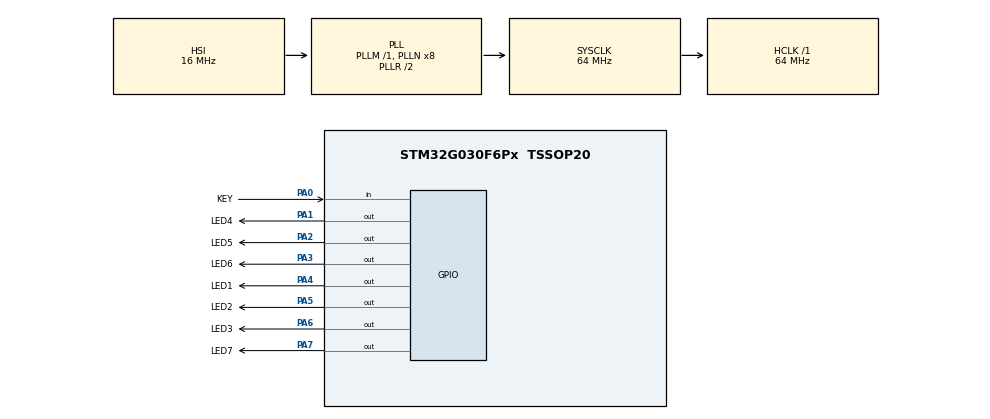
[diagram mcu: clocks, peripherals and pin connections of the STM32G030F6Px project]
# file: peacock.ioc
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IWDG.Prescaler=IWDG_PRESCALER_64
IWDG.Reload=1999
IWDG.Window=4095
Mcu.Family=STM32G0
Mcu.Name=STM32G030F6Px
Mcu.Package=TSSOP20
NVIC.TIM14_IRQn=true\:0\:0\:false\:false\:true\:true\:true\:true
PA0.GPIO_Label=KEY
PA0.GPIO_PuPd=GPIO_PULLUP
PA0.Signal=GPIO_Input
PA1.GPIO_Label=LED4
PA1.GPIO_PuPd=GPIO_PULLDOWN
PA1.PinState=GPIO_PIN_RESET
PA1.Signal=GPIO_Output
PA13.Mode=Serial_Wire
PA13.Signal=SYS_SWDIO
PA14-BOOT0.Mode=Serial_Wire
PA14-BOOT0.Signal=SYS_SWCLK
PA14-BOOT0__PA15.StandardMode=true
PA2.GPIO_Label=LED5
PA2.GPIO_PuPd=GPIO_PULLDOWN
PA2.Signal=GPIO_Output
PA3.GPIO_Label=LED6
PA3.GPIO_PuPd=GPIO_PULLDOWN
PA3.Signal=GPIO_Output
PA4.GPIO_Label=LED1
PA4.GPIO_PuPd=GPIO_PULLDOWN
PA4.Signal=GPIO_Output
PA5.GPIO_Label=LED2
PA5.GPIO_PuPd=GPIO_PULLDOWN
PA5.Signal=GPIO_Output
PA6.GPIO_Label=LED3
PA6.GPIO_PuPd=GPIO_PULLDOWN
PA6.Signal=GPIO_Output
PA7.GPIO_Label=LED7
PA7.GPIO_PuPd=GPIO_PULLDOWN
PA7.Signal=GPIO_Output
PB0__PB1__PB2__PA8.StandardMode=true
PB3__PB4__PB5__PB6.StandardMode=true
PB7__PB8.StandardMode=true
PC14-OSC32_IN\ (PC14)__PB9.StandardMode=true
ProjectManager.HeapSize=0x200
ProjectManager.StackSize=0x400
ProjectManager.TargetToolchain=CMake
RCC.ADCFreq_Value=64000000
RCC.AHBFreq_Value=64000000
RCC.CortexFreq_Value=64000000
RCC.EXTERNAL_CLOCK_VALUE=12288000
RCC.HCLKFreq_Value=64000000
RCC.HSE_VALUE=8000000
RCC.HSI_VALUE=16000000
RCC.LSE_VALUE=32768
RCC.SYSCLKFreq_VALUE=64000000
RCC.SYSCLKSource=RCC_SYSCLKSOURCE_PLLCLK
RCC.VCOOutputFreq_Value=128000000
TIM14.Period=25
TIM14.Prescaler=63
VP_IWDG_VS_IWDG.Mode=IWDG_Activate
VP_TIM14_VS_ClockSourceINT.Mode=Enable_Timer
board=custom

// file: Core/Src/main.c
/* USER CODE BEGIN Header */
/**
  ******************************************************************************
  * @file           : main.c
  * @brief          : Main program body
  * @details        : 本程序基于 STM32G030F6Px，使用 TIM14 约 38.4kHz 中断
  *                 : 实现 7 路 LED 软件 PWM（BSRR 一次写），提供 8 种灯效
  *                 :（流水/呼吸/爆闪/全亮），带伽马校正与占空比双缓冲。
  *                 : 10ms 低频任务完成按键去抖、短按切模式、长按进出设置，
  *                 : 并支持按模式调整速度/爆闪周期/全亮亮度等参数档位显示。
  ******************************************************************************
  * @attention
  *
  * Copyright (c) 2025 STMicroelectronics.
  * All rights reserved.
  *
  * This software is licensed under terms that can be found in the LICENSE file
  * in the root directory of this software component.
  * If no LICENSE file comes with this software, it is provided AS-IS.
  *
  ******************************************************************************
  */
/* USER CODE END Header */
#include "main.h"

/* USER CODE BEGIN Includes */
/* 数学函数用于初始化伽马查找表，仅在启动时执行 */
#include <math.h>
/* memcpy 用于双缓冲拷贝 */
#include <string.h>
#include "flash_cfg.h"
/* USER CODE END Includes */

/* USER CODE BEGIN PD */

/* 灯数量与软件 PWM 参数 */
#define LED_COUNT 7U
#define PWM_BITS 6U
#define PWM_STEPS (1U << PWM_BITS)
#define PWM_MAX (PWM_STEPS - 1U)
#define DITHER_BITS (8U - PWM_BITS)
#define DITHER_CYCLE (1U << DITHER_BITS)
#define BAM_FRAME_UNITS ((1U << PWM_BITS) - 1U)
/* 64MHz / (20kHz * 63) ≈ 50.8 -> 51 ticks per BAM base unit. */
#define BAM_BASE_TICKS 51U
#if (PWM_STEPS != (1U << PWM_BITS))
#error "PWM_STEPS must be a power-of-two defined by PWM_BITS."
#endif
/* 低频效果节拍 */
#define EFFECT_TICK_MS 10U
/* 流水步进周期 */
#define STEP_MS 120U
/* 呼吸包络每 tick 变化量 */
#define ENV_DELTA 4U
/* 呼吸曲线参数 */
#define BREATH_STEPS 256U
#define BREATH_CYCLE (BREATH_STEPS * 2U)
/* 爆闪翻转周期 */
#define FLASH_TOGGLE_MS 100U
/* 按键消抖计数 */
#define KEY_DEBOUNCE_TICKS 3U
/* 长按阈值 */
#define LONGPRESS_MS 2000U
/* 配置保存延迟，避免频繁写入 */
#define SAVE_DELAY_MS 500U

/* LED 相关位掩码，仅影响 LED 引脚 */
#define LED_MASK (LED1_Pin | LED2_Pin | LED3_Pin | LED4_Pin | LED5_Pin | LED6_Pin | LED7_Pin)

/* USER CODE END PD */

TIM_HandleTypeDef htim14;

/* USER CODE BEGIN PV */

/* PWM 相位与双缓冲占空比 */
static volatile uint8_t bam_bit = 0;
static volatile uint8_t dither_phase = 0;
static volatile uint8_t duty_next[LED_COUNT];
static uint32_t bam_on_buf_a[DITHER_CYCLE][PWM_BITS];
static uint32_t bam_on_buf_b[DITHER_CYCLE][PWM_BITS];
static uint32_t (*bam_on_cur)[PWM_BITS] = bam_on_buf_a;
static uint32_t (*bam_on_next)[PWM_BITS] = bam_on_buf_b;
static volatile uint8_t bam_table_ready = 0;
static uint16_t bam_arr_table[PWM_BITS];

/* 伽马校正查找表 */
static uint8_t gamma_lut[256];

/* 效果状态机变量 */
static uint8_t mode = 1;
static uint8_t pos = 0;
static uint8_t group = 0;
static uint16_t step_accum_ms = 0;
static uint16_t flash_accum_ms = 0;
static uint8_t flash_on = 0;
static uint8_t env = 0;
static uint16_t breath_phase = 0;
static uint32_t breath_phase_accum = 0;
static uint8_t breath_lut_cur = 0;
static uint8_t save_pending = 0;
static uint16_t save_delay_ms = 0;

/* 按键消抖状态 */
static uint8_t key_stable = 1;
static uint8_t key_cnt = 0;
static uint16_t key_press_ms = 0;
static uint8_t key_long_fired = 0;
static uint8_t key_last_stable = 1;

typedef enum
{
  RUN_STATE_RUN = 0,
  RUN_STATE_SETUP = 1
} RunState_t;

static RunState_t run_state = RUN_STATE_RUN;

/* 参数档位（index by mode 1..8） */
static uint8_t param_level[10] = {0, 4, 4, 4, 4, 4, 4, 4, 4, 4};

static const uint16_t step_ms_table[7] = {240, 200, 160, 130, 110, 90, 70};
static const uint16_t flash_ms_table[7] = {300, 240, 200, 160, 130, 110, 90};
static const uint8_t bright_cmd_table[7] = {100, 120, 140, 170, 200, 230, 255};
static const uint16_t breath_delta_q8_table[7] = {218, 246, 281, 328, 393, 492, 655};

/* USER CODE END PV */

void SystemClock_Config(void);
static void MX_GPIO_Init(void);
static void MX_TIM14_Init(void);
/* USER CODE BEGIN PFP */

/* 初始化伽马查找表 */
static void Gamma_Init(void);
/* 低频效果更新（按键/模式/包络） */
static void Effect_Tick(void);
/* 将线性亮度命令映射并写入下一帧占空比 */
static void Apply_CmdToDutyNext(const uint8_t cmd[LED_COUNT]);
static void Apply_Config(const Config *cfg);
static void Save_Config_Now(void);

/* USER CODE END PFP */

/* USER CODE BEGIN 0 */

/* LED 顺序：LED1..LED7 映射到 PA4,5,6,1,2,3,7（用于 GPIOA BSRR 原子更新）*/
static const uint16_t led_bits[LED_COUNT] = {
  LED4_Pin, LED5_Pin, LED6_Pin, LED1_Pin, LED2_Pin, LED3_Pin, LED7_Pin
};

/* Setup level (1..7) -> LED index mapping, aligned with led_bits order. */
static const uint8_t setup_level_to_index[LED_COUNT] = {0, 1, 2, 3, 4, 5, 6};

static uint8_t Breath_FromPhase(uint16_t phase)
{
  uint16_t tri = (phase < BREATH_STEPS) ? phase : (uint16_t)(BREATH_CYCLE - 1U - phase);

  return gamma_lut[tri];
}

static uint8_t Breath_Triangle(uint16_t phase)
{
  /* Linear triangle wave (0..255) with gamma correction. */
  uint16_t tri = (phase < BREATH_STEPS) ? phase : (uint16_t)(BREATH_CYCLE - 1U - phase);

  return gamma_lut[tri];
}

static void Gamma_Init(void)
{
  /* 用户代码函数：初始化伽马校正查找表（仅启动执行一次） */
  /* 启动时一次性生成伽马表，避免 ISR 内浮点运算 */
  const float gamma = 2.2f;
  for (uint16_t i = 0; i < 256; i++)
  {
    float x = (float)i / 255.0f;
    float y = powf(x, gamma);
    uint32_t duty = (uint32_t)(y * 255.0f + 0.5f);
    if (duty > 255U)
    {
      duty = 255U;
    }
    gamma_lut[i] = (uint8_t)duty;
  }
}

static void Apply_CmdToDutyNext(const uint8_t cmd[LED_COUNT])
{
  /* Map cmd->gamma and precompute the dithered phase table. */
  __disable_irq();
  if (bam_table_ready != 0U)
  {
    __enable_irq();
    return;
  }
  __enable_irq();

  for (uint8_t i = 0; i < LED_COUNT; i++)
  {
    duty_next[i] = gamma_lut[cmd[i]];
  }

  for (uint8_t d = 0; d < DITHER_CYCLE; d++)
  {
    for (uint8_t b = 0; b < PWM_BITS; b++)
    {
      bam_on_next[d][b] = 0U;
    }
  }

  for (uint8_t i = 0; i < LED_COUNT; i++)
  {
    /* 4-frame temporal dither to approximate 8-bit gamma with 6-bit BAM. */
    uint32_t scaled = ((uint32_t)duty_next[i] * (PWM_MAX * DITHER_CYCLE) + 127U) / 255U;
    uint8_t base = (uint8_t)(scaled >> DITHER_BITS);
    uint8_t frac = (uint8_t)(scaled & (DITHER_CYCLE - 1U));
    for (uint8_t d = 0; d < DITHER_CYCLE; d++)
    {
      uint8_t value = base;
      if ((base < PWM_MAX) && (d < frac))
      {
        value = (uint8_t)(base + 1U);
      }
      if (value > PWM_MAX)
      {
        value = PWM_MAX;
      }
      for (uint8_t b = 0; b < PWM_BITS; b++)
      {
        if ((value >> b) & 0x1U)
        {
          bam_on_next[d][b] |= led_bits[i];
        }
      }
    }
  }

  __disable_irq();
  bam_table_ready = 1U;
  __enable_irq();
}

static void Apply_Config(const Config *cfg)
{
  mode = cfg->mode;
  if ((mode < 1U) || (mode > 9U))
  {
    mode = 1U;
  }
  param_level[0] = 0U;
  for (uint8_t i = 1U; i <= 9U; i++)
  {
    uint8_t level = cfg->param_level[i];
    if ((level < 1U) || (level > 7U))
    {
      level = 4U;
    }
    param_level[i] = level;
  }
}

static void Save_Config_Now(void)
{
  Config cfg;
  memset(&cfg, 0, sizeof(cfg));
  cfg.mode = mode;
  cfg.run_state = RUN_STATE_RUN;
  cfg.param_level[0] = 0U;
  for (uint8_t i = 1U; i <= 9U; i++)
  {
    uint8_t level = param_level[i];
    if ((level < 1U) || (level > 7U))
    {
      level = 4U;
    }
    cfg.param_level[i] = level;
  }

  HAL_TIM_Base_Stop_IT(&htim14);
  __disable_irq();
  (void)FlashCfg_Append(&cfg);
  __enable_irq();
  HAL_TIM_Base_Start_IT(&htim14);
}

static void Effect_Tick(void)
{
  /* 用户代码函数：10ms 低频任务，按键事件/状态机/参数/图案更新 */
  /* 10 ms 低频节拍：按键消抖、模式切换、包络与图案更新 */
  uint8_t key_raw = (HAL_GPIO_ReadPin(KEY_GPIO_Port, KEY_Pin) == GPIO_PIN_RESET) ? 0U : 1U;
  if (key_raw != key_stable)
  {
    if (++key_cnt >= KEY_DEBOUNCE_TICKS)
    {
      key_cnt = 0;
      key_stable = key_raw;
    }
  }
  else
  {
    key_cnt = 0;
  }

  /* 生成短按/长按事件（仅在稳定状态下计时） */
  uint8_t short_press = 0;
  uint8_t long_press = 0;
  if (key_stable == 0U)
  {
    key_press_ms += EFFECT_TICK_MS;
    if ((key_press_ms >= LONGPRESS_MS) && (key_long_fired == 0U))
    {
      key_long_fired = 1U;
      long_press = 1U;
    }
  }
  else
  {
    if ((key_last_stable == 0U) && (key_long_fired == 0U) && (key_press_ms > 0U))
    {
      short_press = 1U;
    }
    key_press_ms = 0;
    key_long_fired = 0U;
  }
  key_last_stable = key_stable;

  /* RUN/SETUP 状态机 */
  if (run_state == RUN_STATE_RUN)
  {
    if (long_press)
    {
      run_state = RUN_STATE_SETUP;
      save_pending = 0U;
      save_delay_ms = 0U;
    }
    else if (short_press)
    {
      mode++;
      if (mode > 9U)
      {
        mode = 1U;
      }
      save_pending = 1U;
      save_delay_ms = 0U;
    }
  }
  else
  {
    if (long_press)
    {
      run_state = RUN_STATE_RUN;
      save_pending = 0U;
      save_delay_ms = 0U;
      Save_Config_Now();
    }
    else if (short_press)
    {
      uint8_t level = param_level[mode];
      level++;
      if (level > 7U)
      {
        level = 1U;
      }
      param_level[mode] = level;
    }
  }

  /* 根据当前模式参数更新节拍 */
  uint8_t level_idx = (param_level[mode] > 0U) ? (uint8_t)(param_level[mode] - 1U) : 0U;
  uint16_t step_ms = STEP_MS;
  uint16_t flash_ms = FLASH_TOGGLE_MS;
  if (mode >= 1U && mode <= 6U)
  {
    step_ms = step_ms_table[level_idx];
  }
  else if (mode == 7U)
  {
    flash_ms = flash_ms_table[level_idx];
  }
  if (mode == 9U)
  {
    uint32_t delta_q8 = breath_delta_q8_table[level_idx];
    breath_phase_accum += delta_q8;
    if (breath_phase_accum >= (uint32_t)BREATH_CYCLE << 8)
    {
      breath_phase_accum -= (uint32_t)BREATH_CYCLE << 8;
    }
    breath_phase = (uint16_t)(breath_phase_accum >> 8);
  }
  else
  {
    breath_phase = (uint16_t)(breath_phase + ENV_DELTA);
    if (breath_phase >= BREATH_CYCLE)
    {
      breath_phase = (uint16_t)(breath_phase - BREATH_CYCLE);
    }
  }
  {
    uint16_t breath = Breath_FromPhase(breath_phase);
    uint16_t boosted = (uint16_t)((breath * 255U) / 32U);
    if (boosted > 255U)
    {
      boosted = 255U;
    }
    env = (uint8_t)boosted;
    if (mode == 9U)
    {
      breath_lut_cur = Breath_Triangle(breath_phase);
    }
    else
    {
      breath_lut_cur = (uint8_t)breath;
    }
  }

  step_accum_ms += EFFECT_TICK_MS;
  if (step_accum_ms >= step_ms)
  {
    step_accum_ms -= step_ms;
    /* 根据模式推进位置或组 */
    switch (mode)
    {
      case 1U:
      case 4U:
        pos = (uint8_t)((pos + 1U) % LED_COUNT);
        break;
      case 2U:
      case 5U:
        pos = (uint8_t)((pos + LED_COUNT - 1U) % LED_COUNT);
        break;
      case 3U:
      case 6U:
        group = (uint8_t)((group + 1U) % 4U);
        break;
      default:
        break;
    }
  }

  flash_accum_ms += EFFECT_TICK_MS;
  if (flash_accum_ms >= flash_ms)
  {
    flash_accum_ms -= flash_ms;
    /* 爆闪翻转 */
    flash_on = (uint8_t)!flash_on;
  }

  if ((save_pending != 0U) && (run_state == RUN_STATE_RUN))
  {
    save_delay_ms += EFFECT_TICK_MS;
    if (save_delay_ms >= SAVE_DELAY_MS)
    {
      save_delay_ms = 0U;
      save_pending = 0U;
      Save_Config_Now();
    }
  }

  uint8_t cmd[LED_COUNT] = {0};
  if (run_state == RUN_STATE_SETUP)
  {
    /* SETUP 档位指示：单灯半亮显示当前档位 */
    uint8_t level = param_level[mode];
    if (level < 1U)
    {
      level = 1U;
    }
    if (level > 7U)
    {
      level = 7U;
    }
    cmd[setup_level_to_index[level - 1U]] = 255U;
    Apply_CmdToDutyNext(cmd);
    return;
  }

  switch (mode)
  {
    case 1U:
    case 2U:
      /* 模式1/2：正/反向单灯流水 */
      cmd[pos] = 255U;
      break;
    case 3U:
      /* 模式3：中心向两侧分组流水 */
      switch (group)
      {
        case 0U:
          cmd[3] = 255U;
          break;
        case 1U:
          cmd[2] = 255U;
          cmd[4] = 255U;
          break;
        case 2U:
          cmd[1] = 255U;
          cmd[5] = 255U;
          break;
        default:
          cmd[0] = 255U;
          cmd[6] = 255U;
          break;
      }
      break;
    case 4U:
    case 5U:
      {
        uint8_t env_breath = env;
        if (env_breath < 100U)
        {
          env_breath = 100U;
        }
        for (uint8_t i = 0; i < LED_COUNT; i++)
        {
          uint8_t dist = (i > pos) ? (i - pos) : (pos - i);
          if (dist > (LED_COUNT / 2U))
          {
            dist = (uint8_t)(LED_COUNT - dist);
          }
          uint8_t base = 0U;
          if (dist == 0U)
          {
            base = 255U;
          }
          else if (dist == 1U)
          {
            base = 220U;
          }
          else if (dist == 2U)
          {
            base = 128U;
          }
          cmd[i] = (uint8_t)(((uint16_t)base * env_breath) / 255U);
        }
      }
      break;
    case 6U:
      {
        uint8_t env_breath = env;
        if (env_breath < 100U)
        {
          env_breath = 100U;
        }
        switch (group)
        {
          case 0U:
            cmd[3] = env_breath;
            break;
          case 1U:
            cmd[2] = env_breath;
            cmd[4] = env_breath;
            break;
          case 2U:
            cmd[1] = env_breath;
            cmd[5] = env_breath;
            break;
          default:
            cmd[0] = env_breath;
            cmd[6] = env_breath;
            break;
        }
      }
      break;
    case 7U:
      /* 模式7：100 ms 频率全亮/全灭爆闪 */
      if (flash_on)
      {
        for (uint8_t i = 0; i < LED_COUNT; i++)
        {
          cmd[i] = 255U;
        }
      }
      break;
    case 9U:
      /* Mode 9: triangle breathing for all LEDs. */
      {
        uint8_t env_breath = breath_lut_cur;
        for (uint8_t i = 0; i < LED_COUNT; i++)
        {
          cmd[i] = env_breath;
        }
      }
      break;
    default:
      /* 模式8：全亮 */
      for (uint8_t i = 0; i < LED_COUNT; i++)
      {
        uint8_t lvl = param_level[8];
        uint8_t idx = (lvl > 0U) ? (uint8_t)(lvl - 1U) : 0U;
        cmd[i] = bright_cmd_table[idx];
      }
      break;
  }

  Apply_CmdToDutyNext(cmd);
}

/* USER CODE END 0 */

int main(void)
{

  /* MCU Configuration--------------------------------------------------------*/

  /* Reset of all peripherals, Initializes the Flash interface and the Systick. */
  HAL_Init();

  /* Configure the system clock */
  SystemClock_Config();

  /* Initialize all configured peripherals */
  MX_GPIO_Init();
  MX_TIM14_Init();
  /* USER CODE BEGIN 2 */
  key_stable = (HAL_GPIO_ReadPin(KEY_GPIO_Port, KEY_Pin) == GPIO_PIN_RESET) ? 0U : 1U;
  key_last_stable = key_stable;
  key_cnt = 0;
  key_press_ms = 0;
  key_long_fired = 0;

  {
    Config cfg;
    if (FlashCfg_Load(&cfg))
    {
      Apply_Config(&cfg);
    }
    else
    {
      FlashCfg_InitDefaults(&cfg);
      Apply_Config(&cfg);
      (void)FlashCfg_Append(&cfg);
    }
  }

  /* 初始化伽马表并生成首帧 duty */
  Gamma_Init();
  Effect_Tick();
  for (uint8_t b = 0; b < PWM_BITS; b++)
  {
    bam_arr_table[b] = (uint16_t)((BAM_BASE_TICKS * (1U << b)) - 1U);
  }
  bam_bit = 0U;
  dither_phase = 0U;
  if (bam_table_ready != 0U)
  {
    uint32_t (*tmp)[PWM_BITS] = bam_on_cur;
    bam_on_cur = bam_on_next;
    bam_on_next = tmp;
    bam_table_ready = 0U;
  }
  {
    uint32_t on_bits = bam_on_cur[dither_phase][bam_bit];
    uint32_t off_bits = LED_MASK & ~on_bits;
    GPIOA->BSRR = (on_bits & LED_MASK) | (off_bits << 16);
  }
  __HAL_TIM_SET_AUTORELOAD(&htim14, bam_arr_table[bam_bit]);
  /* Start TIM14 interrupt for BAM PWM. */
  HAL_TIM_Base_Start_IT(&htim14);

  /* USER CODE END 2 */

  /* Infinite loop */
  while (1)
  {

    /* USER CODE BEGIN 3 */
    /* 使用 SysTick 驱动 10 ms 效果节拍 */
    static uint32_t last_tick = 0;
    uint32_t now = HAL_GetTick();
    if ((now - last_tick) >= EFFECT_TICK_MS)
    {
      last_tick += EFFECT_TICK_MS;
      Effect_Tick();
    }
  }
  /* USER CODE END 3 */
}

void SystemClock_Config(void)
{
  RCC_OscInitTypeDef RCC_OscInitStruct = {0};
  RCC_ClkInitTypeDef RCC_ClkInitStruct = {0};

  /** Configure the main internal regulator output voltage
  */
  HAL_PWREx_ControlVoltageScaling(PWR_REGULATOR_VOLTAGE_SCALE1);

  /** Initializes the RCC Oscillators according to the specified parameters
  * in the RCC_OscInitTypeDef structure.
  */
  RCC_OscInitStruct.OscillatorType = RCC_OSCILLATORTYPE_HSI;
  RCC_OscInitStruct.HSIState = RCC_HSI_ON;
  RCC_OscInitStruct.HSIDiv = RCC_HSI_DIV1;
  RCC_OscInitStruct.HSICalibrationValue = RCC_HSICALIBRATION_DEFAULT;
  RCC_OscInitStruct.PLL.PLLState = RCC_PLL_ON;
  RCC_OscInitStruct.PLL.PLLSource = RCC_PLLSOURCE_HSI;
  RCC_OscInitStruct.PLL.PLLM = RCC_PLLM_DIV1;
  RCC_OscInitStruct.PLL.PLLN = 8;
  RCC_OscInitStruct.PLL.PLLP = RCC_PLLP_DIV2;
  RCC_OscInitStruct.PLL.PLLR = RCC_PLLR_DIV2;
  if (HAL_RCC_OscConfig(&RCC_OscInitStruct) != HAL_OK)
  {
    Error_Handler();
  }

  /** Initializes the CPU, AHB and APB buses clocks
  */
  RCC_ClkInitStruct.ClockType = RCC_CLOCKTYPE_HCLK|RCC_CLOCKTYPE_SYSCLK
                              |RCC_CLOCKTYPE_PCLK1;
  RCC_ClkInitStruct.SYSCLKSource = RCC_SYSCLKSOURCE_PLLCLK;
  RCC_ClkInitStruct.AHBCLKDivider = RCC_SYSCLK_DIV1;
  RCC_ClkInitStruct.APB1CLKDivider = RCC_HCLK_DIV1;

  if (HAL_RCC_ClockConfig(&RCC_ClkInitStruct, FLASH_LATENCY_2) != HAL_OK)
  {
    Error_Handler();
  }
}

static void MX_TIM14_Init(void)
{

  /* USER CODE BEGIN TIM14_Init 1 */
  /*
   * TIM14 BAM timing:
   * base_ticks = 64MHz / (20kHz * 63) ≈ 50.8 -> BAM_BASE_TICKS = 51
   * frame_ticks = base_ticks * 63 = 3213 -> PWM base ≈ 19.94kHz
   */

  /* USER CODE END TIM14_Init 1 */
  htim14.Instance = TIM14;
  htim14.Init.Prescaler = 0;
  htim14.Init.CounterMode = TIM_COUNTERMODE_UP;
  htim14.Init.Period = (BAM_BASE_TICKS - 1U);
  htim14.Init.ClockDivision = TIM_CLOCKDIVISION_DIV1;
  htim14.Init.AutoReloadPreload = TIM_AUTORELOAD_PRELOAD_DISABLE;
  if (HAL_TIM_Base_Init(&htim14) != HAL_OK)
  {
    Error_Handler();
  }

}

static void MX_GPIO_Init(void)
{
  GPIO_InitTypeDef GPIO_InitStruct = {0};

  /* GPIO Ports Clock Enable */
  __HAL_RCC_GPIOA_CLK_ENABLE();

  /*Configure GPIO pin Output Level */
  HAL_GPIO_WritePin(GPIOA, LED4_Pin|LED5_Pin|LED6_Pin|LED1_Pin
                          |LED2_Pin|LED3_Pin|LED7_Pin, GPIO_PIN_RESET);

  /*Configure GPIO pin : KEY_Pin */
  GPIO_InitStruct.Pin = KEY_Pin;
  GPIO_InitStruct.Mode = GPIO_MODE_INPUT;
  GPIO_InitStruct.Pull = GPIO_PULLUP;
  HAL_GPIO_Init(KEY_GPIO_Port, &GPIO_InitStruct);

  /*Configure GPIO pins : LED4_Pin LED5_Pin LED6_Pin LED1_Pin
                           LED2_Pin LED3_Pin LED7_Pin */
  GPIO_InitStruct.Pin = LED4_Pin|LED5_Pin|LED6_Pin|LED1_Pin
                          |LED2_Pin|LED3_Pin|LED7_Pin;
  GPIO_InitStruct.Mode = GPIO_MODE_OUTPUT_PP;
  GPIO_InitStruct.Pull = GPIO_PULLDOWN;
  GPIO_InitStruct.Speed = GPIO_SPEED_FREQ_LOW;
  HAL_GPIO_Init(GPIOA, &GPIO_InitStruct);

  /* USER CODE BEGIN MX_GPIO_Init_2 */
  /* Note: for cleaner 20kHz edges, consider GPIO_SPEED_FREQ_MEDIUM if rise time looks soft. */

  /* USER CODE END MX_GPIO_Init_2 */
}

/* USER CODE BEGIN 4 */

void HAL_TIM_PeriodElapsedCallback(TIM_HandleTypeDef *htim)
{
  /* Timer ISR: update BAM output for current bit. */
  if (htim->Instance == TIM14)
  {
    /* BAM: 6-bit per frame @ 20kHz, update rate ~120kHz. */
    uint32_t on_bits = bam_on_cur[dither_phase][bam_bit];
    uint32_t off_bits = LED_MASK & ~on_bits;
    /* Single BSRR write for atomic LED update. */
    GPIOA->BSRR = (on_bits & LED_MASK) | (off_bits << 16);

    bam_bit++;
    if (bam_bit >= PWM_BITS)
    {
      bam_bit = 0;
      dither_phase++;
      if (dither_phase >= DITHER_CYCLE)
      {
        dither_phase = 0;
      }
      if (bam_table_ready != 0U)
      {
        uint32_t (*tmp)[PWM_BITS] = bam_on_cur;
        bam_on_cur = bam_on_next;
        bam_on_next = tmp;
        bam_table_ready = 0U;
        dither_phase = 0U;
      }
    }
    __HAL_TIM_SET_AUTORELOAD(htim, bam_arr_table[bam_bit]);
  }
}

/* USER CODE END 4 */

void Error_Handler(void)
{
  __disable_irq();
  while (1)
  {
  }
}
